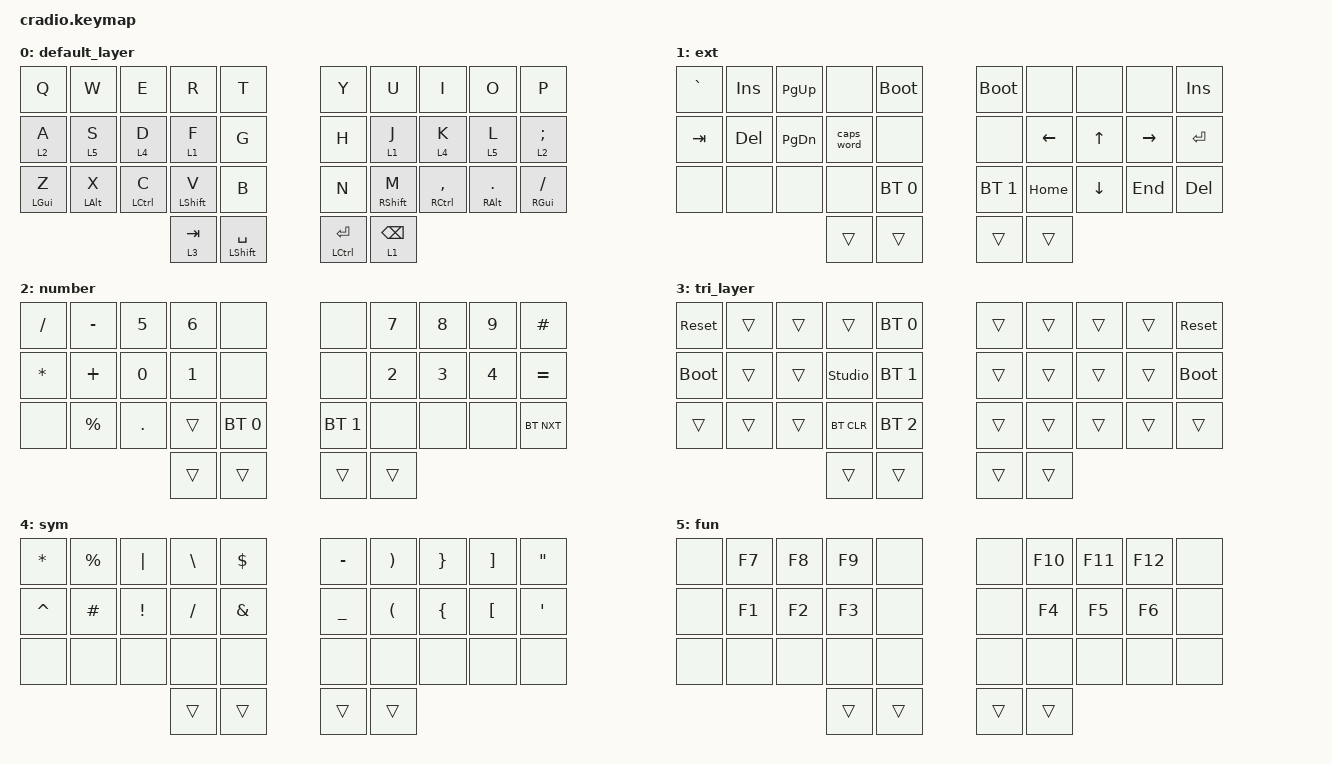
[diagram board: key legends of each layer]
// Copyright (c) 2022 The ZMK Contributors
// SPDX-License-Identifier: MIT
// These constants need to be defined above point.h include

#define ZMK_MOUSE_DEFAULT_MOVE_VAL 3000
#define U_MOUSE_MOVE_EXPONENT 2
#define U_MOUSE_MOVE_TIME 500
#define U_MOUSE_MOVE_DELAY 0

//#define ZMK_MOUSE_DEFAULT_SCRL_VAL 100
//#define U_MOUSE_SCROLL_EXPONENT 1
//#define U_MOUSE_SCROLL_TIME 5000
//#define U_MOUSE_SCROLL_DELAY 0

#include <behaviors/num_word.dtsi>
#include <behaviors.dtsi>
#include <dt-bindings/zmk/bt.h>
#include <dt-bindings/zmk/keys.h>

/ {
    conditional_layers {
        compatible = "zmk,conditional-layers";

        tri_layer {
            if-layers = <1 4>;
            then-layer = <3>;
        };
    };

    /*    combos {
        compatible = "zmk,combos";

        combo_bkspc {
            bindings = <&kp BACKSPACE>;
            key-positions = <7 8>;
        };

        combo_enter {
            bindings = <&kp ENTER>;
            key-positions = <27 28>;
        };

        combo_tab {
            bindings = <&kp TAB>;
            key-positions = <22 21>;
        };

        combo_kb_nav_toggle {
            bindings = <&tog 4>;
            key-positions = <16 18>;
        };

        combo_m_nav_toggle {
            bindings = <&tog 5>;
            key-positions = <16 17 18>;
        };

        combo_m_scroll {
            bindings = <&tog 6>;
            key-positions = <26 27 28>;
        };

        combo_esc {
            bindings = <&kp ESC>;
            key-positions = <1 2>;
        };

        combo_excl {
            bindings = <&kp EXCL>;
            key-positions = <0 10>;
        };

        combo_at {
            bindings = <&kp AT>;
            key-positions = <1 11>;
        };

        combo_hash {
            bindings = <&kp HASH>;
            key-positions = <2 12>;
        };

        combo_dollar {
            bindings = <&kp DOLLAR>;
            key-positions = <3 13>;
        };

        combo_percent {
            bindings = <&kp PERCENT>;
            key-positions = <4 14>;
        };

        combo_caret {
            bindings = <&kp CARET>;
            key-positions = <10 20>;
        };

        combo_amps {
            bindings = <&kp AMPS>;
            key-positions = <11 21>;
        };

        combo_astrk {
            bindings = <&kp ASTRK>;
            key-positions = <12 22>;
        };

        combo_lparen {
            bindings = <&kp LEFT_PARENTHESIS>;
            key-positions = <13 23>;
        };

        combo_rparen {
            bindings = <&kp RIGHT_PARENTHESIS>;
            key-positions = <14 24>;
        };

        combo_minus {
            bindings = <&kp MINUS>;
            key-positions = <6 16>;
        };

        combo_equal {
            bindings = <&kp EQUAL>;
            key-positions = <7 17>;
        };

        combo_quote {
            bindings = <&kp SINGLE_QUOTE>;
            key-positions = <8 18>;
        };

        combo_lbracket {
            bindings = <&kp LEFT_BRACKET>;
            key-positions = <16 26>;
        };

        combo_rbracket {
            bindings = <&kp RIGHT_BRACKET>;
            key-positions = <17 27>;
        };

        combo_bslh {
            bindings = <&kp BSLH>;
            key-positions = <18 28>;
        };

        combo_smart_word {
            bindings = <&caps_word>;
            key-positions = <11 13>;
        };

        combo_numword {
            bindings = <&num_word 1>;
            key-positions = <12 11 13>;
        };

        combo_lparen_ex {
            bindings = <&kp LEFT_PARENTHESIS>;
            key-positions = <12 16 26>;
            layers = <0>;
            timeout-ms = <300>;
        };

        combo_rparen_ex {
            bindings = <&kp RIGHT_PARENTHESIS>;
            key-positions = <12 17 27>;
            layers = <0>;
            timeout-ms = <300>;
        };

        combo_grave_tilde {
            bindings = <&kp GRAVE>;
            key-positions = <9 19>;
        };
    };
*/

    behaviors {
        hml: home_row_mod_left {
            compatible = "zmk,behavior-hold-tap";
            #binding-cells = <2>;
            flavor = "balanced";
            require-prior-idle-ms = <150>;
            tapping-term-ms = <280>;
            quick-tap-ms = <175>;
            bindings = <&kp>, <&kp>;

            hold-trigger-key-positions = < 26 27 28 29 >; // List of keys on the right side of the keyboard
            hold-trigger-on-release;
        };

        hmr: home_row_mod_right {
            compatible = "zmk,behavior-hold-tap";
            #binding-cells = <2>;
            flavor = "balanced";
            require-prior-idle-ms = <150>;
            tapping-term-ms = <280>;
            quick-tap-ms = <175>;
            bindings = <&kp>, <&kp>;

            hold-trigger-key-positions = < 20 21 22 23 >; // List of keys on the left side of the keyboard
            hold-trigger-on-release;
        };
    };

    combos {
        compatible = "zmk,combos";

        combo_grave {
            bindings = <&kp GRAVE>;
            key-positions = <0 10>;
            layers = <0>;
        };

        combo_tab {
            bindings = <&kp TAB>;
            key-positions = <10 20>;
            layers = <0>;
        };

        combo_ins {
            bindings = <&kp INS>;
            key-positions = <1 11>;
            layers = <0>;
        };

        combo_del {
            bindings = <&kp DEL>;
            key-positions = <11 21>;
            layers = <0>;
        };

        combo_pgup {
            bindings = <&kp PAGE_UP>;
            key-positions = <2 12>;
            layers = <0>;
        };

        combo_pgdn {
            bindings = <&kp PAGE_DOWN>;
            key-positions = <12 22>;
            layers = <0>;
        };

        combo_numword {
            bindings = <&num_word 1>;
            key-positions = <3 13>;
            layers = <0>;
        };

        combo_capsword {
            bindings = <&caps_word>;
            key-positions = <13 23>;
            layers = <0>;
        };

        combo_left {
            bindings = <&kp LEFT>;
            key-positions = <26 16>;
            layers = <0>;
        };

        combo_up {
            bindings = <&kp UP_ARROW>;
            key-positions = <7 17>;
            layers = <0>;
        };

        combo_down {
            bindings = <&kp DOWN_ARROW>;
            key-positions = <17 27>;
            layers = <0>;
        };

        combo_right {
            bindings = <&kp RIGHT_ARROW>;
            key-positions = <18 28>;
            layers = <0>;
        };

        combo_single_quote {
            bindings = <&kp SINGLE_QUOTE>;
            key-positions = <19 29>;
            layers = <0>;
        };

        combo_double_quote {
            bindings = <&kp DOUBLE_QUOTES>;
            key-positions = <9 19>;
            layers = <0>;
        };

        combo_esc {
            bindings = <&kp ESC>;
            key-positions = <1 2>;
        };

        combo_tab2 {
            bindings = <&kp TAB>;
            key-positions = <21 22>;
        };

        combo_backspace2 {
            bindings = <&kp BACKSPACE>;
            key-positions = <7 8>;
        };

        combo_enter2 {
            bindings = <&kp ENTER>;
            key-positions = <27 28>;
        };

        combo_space {
            bindings = <&kp SPACE>;
            key-positions = <17 18>;
        };

        combo_space_l {
            bindings = <&kp SPACE>;
            key-positions = <12 11>;
        };

        combo_underscore {
            bindings = <&kp UNDERSCORE>;
            key-positions = <26 27 28>;
        };

        combo-hypen {
            bindings = <&kp MINUS>;
            key-positions = <26 27>;
        };
    };

    keymap {
        compatible = "zmk,keymap";

        default_layer {
            bindings = <
&kp Q        &kp W        &kp E         &kp R         &kp T                   &kp Y            &kp U         &kp I             &kp O          &kp P
&lt 2 A      &lt 5 S      &lt 4 D       &lt 1 F       &kp G                   &kp H            &lt 1 J       &lt 4 K           &lt 5 L        &lt 2 SEMI
&hml LGUI Z  &hml LALT X  &hml LCTRL C  &hml LSHFT V  &kp B                   &kp N            &hmr RSHFT M  &hmr RCTRL COMMA  &hmr RALT DOT  &hmr RGUI FSLH
                                        &lt 3 TAB     &mt LEFT_SHIFT SPACE    &mt LCTRL ENTER  &lt 1 BSPC
            >;
        };

        ext {
            bindings = <
&kp GRAVE  &kp INS  &kp PAGE_UP    &none       &bootloader     &bootloader   &none     &none     &none      &kp INS
&kp TAB    &kp DEL  &kp PAGE_DOWN  &caps_word  &none           &none         &kp LEFT  &kp UP    &kp RIGHT  &kp RET
&none      &none    &none          &none       &bt BT_SEL 0    &bt BT_SEL 1  &kp HOME  &kp DOWN  &kp END    &kp DEL
                                   &trans      &trans          &trans        &trans
            >;

            label = "ext";
        };

        num {
            bindings = <
&kp SLASH     &kp MINUS    &kp N5      &kp N6  &none           &none         &kp N7  &kp N8  &kp N9  &kp POUND
&kp ASTERISK  &kp PLUS     &kp N0      &kp N1  &none           &none         &kp N2  &kp N3  &kp N4  &kp EQUAL
&none         &kp PERCENT  &kp PERIOD  &trans  &bt BT_SEL 0    &bt BT_SEL 1  &none   &none   &none   &bt BT_NXT
                                       &trans  &trans          &trans        &trans
            >;

            label = "number";
        };

        tri_layer {
            bindings = <
&sys_reset   &trans  &trans  &trans          &bt BT_SEL 0    &trans  &trans  &trans  &trans  &sys_reset
&bootloader  &trans  &trans  &studio_unlock  &bt BT_SEL 1    &trans  &trans  &trans  &trans  &bootloader
&trans       &trans  &trans  &bt BT_CLR      &bt BT_SEL 2    &trans  &trans  &trans  &trans  &trans
                             &trans          &trans          &trans  &trans
            >;
        };

        sym {
            bindings = <
&kp ASTERISK  &kp PRCNT  &kp PIPE  &kp BSLH  &kp DOLLAR       &kp MINUS  &kp RPAR  &kp RBRC  &kp RBKT  &kp DOUBLE_QUOTES
&kp CARET     &kp HASH   &kp EXCL  &kp FSLH  &kp AMPERSAND    &kp UNDER  &kp LPAR  &kp LBRC  &kp LBKT  &kp SQT
&none         &none      &none     &none     &none            &none      &none     &none     &none     &none
                                   &trans    &trans           &trans     &trans
            >;
        };

        fun {
            bindings = <
&none  &kp F7  &kp F8  &kp F9  &none     &none   &kp F10  &kp F11  &kp F12  &none
&none  &kp F1  &kp F2  &kp F3  &none     &none   &kp F4   &kp F5   &kp F6   &none
&none  &none   &none   &none   &none     &none   &none    &none    &none    &none
                       &trans  &trans    &trans  &trans
            >;
        };
    };
};
